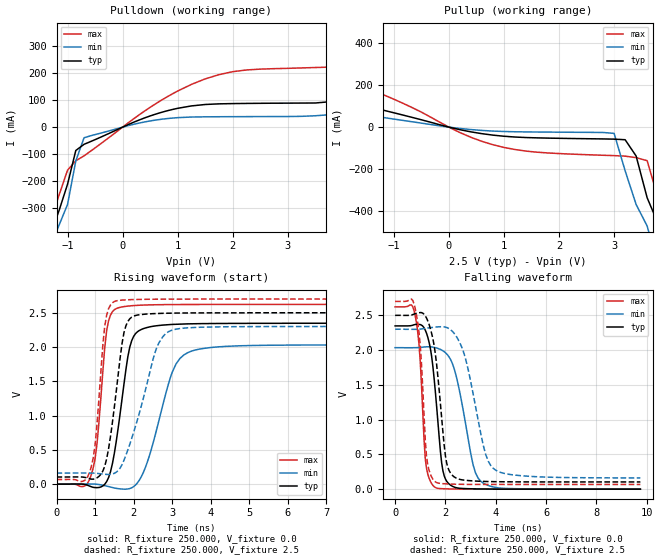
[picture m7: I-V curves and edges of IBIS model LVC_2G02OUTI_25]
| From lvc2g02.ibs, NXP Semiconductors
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|   Model LVC_2G02OUTI_25
[Model]   LVC_2G02OUTI_25
Model_type   Output
Polarity   Inverting
Vmeas =  1.25V
Cref  =  30.0pF
Rref  =  0.5k
Vref  =  0.0V
C_comp   3.37pF   2.13pF   4.36pF
[Model Spec]
| Note: The input and output voltage ratings may be exceeded if the input and
|   output current ratings are observed (please refer to the data sheet)
|   Subparameter   typ   min   max
| Timing Thresholds
Vmeas   1.25   1.15   1.35
|Ambient temperature:   25   85   -40
[Temperature Range]   30   90   -35
[Voltage Range]   2.5V   2.3V   2.7V
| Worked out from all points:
|   slope of the pulldown table from 0 to 0.375 V, typ, clamps not added: 11.7 ohm
|   slope of the pullup table from 0 to 0.375 V, typ, clamps not added: 17.6 ohm
|   rising waveform, R_fixture 250.000, V_fixture 0.0: 20-80 % time 352ps typ, 592ps min, 237ps max; typ from 0 V to 2.35 V
|   rising waveform, R_fixture 250.000, V_fixture 2.5: 20-80 % time 323ps typ, 625ps min, 224ps max; typ from 0.104 V to 2.5 V
|   falling waveform, R_fixture 250.000, V_fixture 0.0: 20-80 % time 361ps typ, 641ps min, 238ps max; typ from 2.35 V to 0 V
|   falling waveform, R_fixture 250.000, V_fixture 2.5: 20-80 % time 397ps typ, 733ps min, 251ps max; typ from 2.5 V to 0.104 V
|Process Range   nominal   slow   fast
[Pulldown]
| voltage   I(typ)   I(min)   I(max)
-5.5V     -4.533A    -4.569A    -4.49A
-1.45V    -527.2mA   -571.8mA   -476.1mA
-1.15V    -305.4mA   -359.7mA   -248.3mA
-1V       -210.6mA   -285.4mA   -158.8mA
-850mV    -86.18mA   -124.9mA   -124.2mA
-700mV    -63.39mA   -39.1mA    -105.8mA
700mV     54.21mA    29mA       98.79mA
1.75V     85.93mA    38.4mA     193.7mA
4V        101mA      50.95mA    222.9mA
5.75V     184.8mA    100.4mA    384.8mA
8.75V     371.3mA    214.2mA    702.4mA
11V       524.1mA    305.5mA    960.5mA
[Pullup]
| voltage   I(typ)   I(min)   I(max)
-8.7V     496.7mA    332.4mA    812.8mA
-4.3V     268.1mA    165.8mA    477.4mA
-2.3V     152.4mA    89.63mA    280.2mA
600mV     -31.27mA   -15.7mA    -67.93mA
1.4V      -49.67mA   -22.8mA    -114.4mA
3V        -57.33mA   -29.67mA   -136mA
3.2V      -60.09mA   -208.1mA   -138.5mA
3.4V      -137.9mA   -369.3mA   -145.7mA
3.6V      -337.3mA   -472.1mA   -160.1mA
3.8V      -461.1mA   -661.2mA   -340.5mA
4V        -655.7mA   -858.6mA   -489.1mA
8.2V      -4.75A     -4.976A    -4.541A
[Ramp]
| variable   typ   min   max
dV/dt_r   1.409V/351.702ps   1.219V/592.545ps   1.573V/237.352ps
dV/dt_f   1.438V/396.617ps   1.283V/733.339ps   1.579V/251.140ps
R_load = 250.000
[Rising Waveform]
R_fixture   = 250.000
V_fixture   = 0.0
V_fixture_min = 0.0
V_fixture_max = 0.0
| time   V(typ)   V(min)   V(max)
0s        13.04pV    425.7pV    3.82pV
900ps     -38.05mV   1.576mV    133.1mV
1.05ns    -51.64mV   -2.627mV   590mV
1.3ns     36.55mV    -28.88mV   2.238V
1.55ns    625.1mV    -62.19mV   2.561V
2ns       2.155V     -36.85mV   2.605V
2.35ns    2.285V     312mV      2.614V
3ns       2.33V      1.63V      2.62V
3.4ns     2.338V     1.917V     2.621V
9.75ns    2.348V     2.032V     2.622V
[Rising Waveform]
R_fixture   = 250.000
V_fixture   = 2.5
V_fixture_min = 2.3
V_fixture_max = 2.7
| time   V(typ)   V(min)   V(max)
0s        103.8mV    161.3mV    67.5mV
850ps     79.92mV    161.8mV    160.7mV
1ns       78.39mV    159mV      571.7mV
1.25ns    258.7mV    143.5mV    2.301V
1.5ns     1.122V     157.6mV    2.664V
1.7ns     2.053V     285mV      2.685V
1.85ns    2.372V     498.8mV    2.69V
2.6ns     2.489V     1.991V     2.698V
2.95ns    2.494V     2.236V     2.699V
9.75ns    2.5V       2.3V       2.7V
[Falling Waveform]
R_fixture   = 250.000
V_fixture   = 0.0
V_fixture_min = 0.0
V_fixture_max = 0.0
| time   V(typ)   V(min)   V(max)
0s        2.348V     2.035V     2.622V
800ps     2.368V     2.035V     2.493V
1ns       2.367V     2.038V     1.831V
1.2ns     2.286V     2.046V     433.8mV
1.55ns    1.594V     2.039V     37mV
1.85ns    379mV      2.001V     7.277mV
2ns       146.7mV    1.963V     5.024mV
3.1ns     4.934mV    348.5mV    385.6uV
3.5ns     2.703mV    88.15mV    134.6uV
9.75ns    -14.99uV   2.241uV    -620.1nV
[Falling Waveform]
R_fixture   = 250.000
V_fixture   = 2.5
V_fixture_min = 2.3
V_fixture_max = 2.7
| time   V(typ)   V(min)   V(max)
0s        2.5V       2.3V       2.7V
800ps     2.523V     2.299V     2.597V
1ns       2.54V      2.302V     2.066V
1.25ns    2.46V      2.315V     463.4mV
1.6ns     1.945V     2.331V     105.8mV
2ns       480mV      2.33V      76.78mV
2.35ns    175.9mV    2.239V     71.66mV
2.75ns    129.8mV    1.938V     69.24mV
3.9ns     108.3mV    299.8mV    67.65mV
9.75ns    103.8mV    161.8mV    67.5mV
